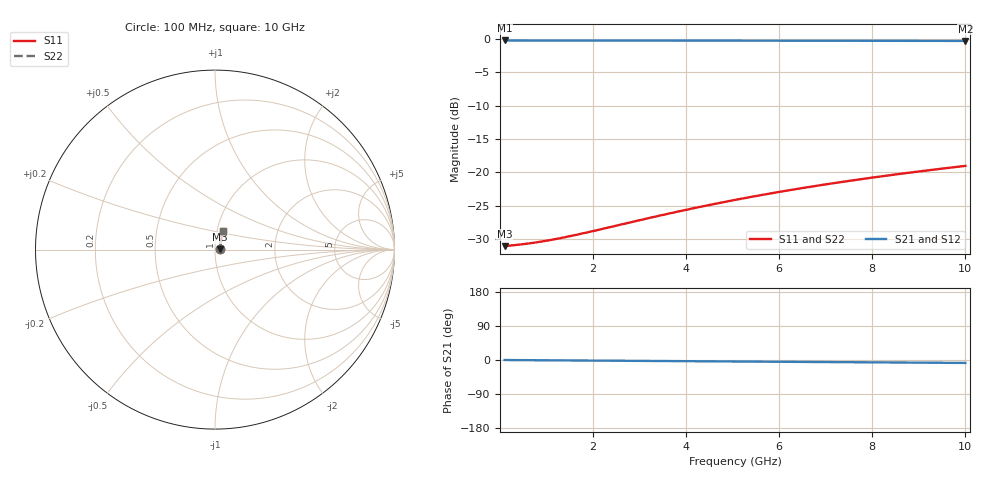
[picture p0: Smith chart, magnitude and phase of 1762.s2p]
# Hz S RI R 50.00
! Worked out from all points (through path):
!   100 points, 100 MHz to 10 GHz, reference 50 ohm
!   highest |S21| = -0.25 dB at 100 MHz (marker M1); lowest = -0.3 dB at 10 GHz (marker M2)
!   group delay of S21, straight-line fit = 2.14 ps
!   lowest |S11| = -31.0 dB at 100 MHz (marker M3), VSWR 1.06, Z = 52.9 + j0.111 ohm
!   |S11| at or under -10 dB: start of sweep to end of sweep
!   |S22| runs from -31.0 to -19.0 dB; largest |S21 - S12| = 0
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1e8  0.028 0.00105  0.972 -0.00131  0.972 -0.00131  0.028 0.00105
5e8  0.0286 0.00523  0.9714 -0.00657  0.9714 -0.00657  0.0286 0.00523
7e8  0.0287 0.00732  0.9713 -0.00919  0.9713 -0.00919  0.0287 0.00732
9e8  0.0289 0.00941  0.9711 -0.0118  0.9711 -0.0118  0.0289 0.00941
1.1e9  0.0291 0.0115  0.9709 -0.0144  0.9709 -0.0144  0.0291 0.0115
1.3e9  0.0292 0.0136  0.9708 -0.0171  0.9708 -0.0171  0.0292 0.0136
1.5e9  0.0294 0.0157  0.9706 -0.0197  0.9706 -0.0197  0.0294 0.0157
1.8e9  0.0296 0.0188  0.9704 -0.0236  0.9704 -0.0236  0.0296 0.0188
3.4e9  0.0312 0.0354  0.9688 -0.0445  0.9688 -0.0445  0.0312 0.0354
3.9e9  0.0318 0.0406  0.9682 -0.051  0.9682 -0.051  0.0318 0.0406
4.3e9  0.0323 0.0448  0.9676 -0.0562  0.9676 -0.0562  0.0323 0.0448
4.7e9  0.0328 0.0489  0.9671 -0.0614  0.9671 -0.0614  0.0328 0.0489
5.1e9  0.0335 0.053  0.9664 -0.0666  0.9664 -0.0666  0.0335 0.053
5.5e9  0.0341 0.0571  0.9658 -0.0718  0.9658 -0.0718  0.0341 0.0571
5.9e9  0.0348 0.0612  0.9651 -0.077  0.9651 -0.077  0.0348 0.0612
6.3e9  0.0355 0.0653  0.9643 -0.0822  0.9643 -0.0822  0.0355 0.0653
6.7e9  0.0363 0.0694  0.9635 -0.0873  0.9635 -0.0873  0.0363 0.0694
7.5e9  0.038 0.0776  0.9618 -0.0976  0.9618 -0.0976  0.038 0.0776
7.9e9  0.0388 0.0816  0.9609 -0.1027  0.9609 -0.1027  0.0388 0.0816
8.4e9  0.04 0.0867  0.9597 -0.1091  0.9597 -0.1091  0.04 0.0867
9.2e9  0.0421 0.0947  0.9576 -0.1193  0.9576 -0.1193  0.0421 0.0947
1e10  0.0442 0.1027  0.9554 -0.1294  0.9554 -0.1294  0.0442 0.1027
